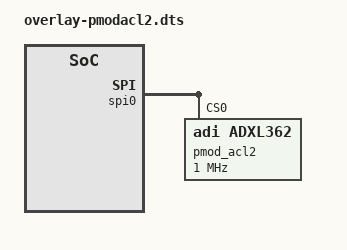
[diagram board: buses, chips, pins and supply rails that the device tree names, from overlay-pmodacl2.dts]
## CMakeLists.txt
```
cmake_minimum_required(VERSION 3.20.0)
find_package(Zephyr REQUIRED HINTS $ENV{ZEPHYR_BASE})
project(teleop_pico)

file(GLOB app_sources src/*.c)
set(common_sources
    ${CMAKE_CURRENT_SOURCE_DIR}/../common/src/atomic_shim.c
    ${CMAKE_CURRENT_SOURCE_DIR}/../common/src/ipv4_dhcp_client.c
    ${CMAKE_CURRENT_SOURCE_DIR}/../common/src/rmw_zenoh_compat.c)
target_sources(app PRIVATE ${app_sources} ${common_sources})
target_include_directories(
  app PRIVATE ${CMAKE_CURRENT_SOURCE_DIR}/../common/include)

if(DEFINED ENV{ZENOH_LOCATOR} AND NOT "$ENV{ZENOH_LOCATOR}" STREQUAL "")
  target_compile_definitions(app PRIVATE ZENOH_LOCATOR=\"$ENV{ZENOH_LOCATOR}\")
  message(STATUS "teleop_pico: ZENOH_LOCATOR is set from environment")
endif()
```

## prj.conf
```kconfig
# Pmod ACL2 (ADXL362) is connected via LiteX SPI (spi0 + pmod_acl2 DT node).
CONFIG_SPI=y
CONFIG_SENSOR=y
CONFIG_ADXL362=y

CONFIG_NETWORKING=y
CONFIG_NET_IPV6=y
CONFIG_NET_IPV4=y
CONFIG_NET_ARP=y
CONFIG_NET_TCP=y
CONFIG_NET_UDP=y
CONFIG_NET_SOCKETS=y
CONFIG_NET_DHCPV4=y
CONFIG_NET_DHCPV4_OPTION_CALLBACKS=y
CONFIG_DNS_RESOLVER=y

CONFIG_ENTROPY_GENERATOR=y
CONFIG_TEST_RANDOM_GENERATOR=y

CONFIG_INIT_STACKS=y

CONFIG_NET_MGMT=y
CONFIG_NET_MGMT_EVENT=y

CONFIG_NET_LOG=y
CONFIG_LOG=y

CONFIG_SLIP_STATISTICS=n
CONFIG_NET_SHELL=y

# Added config for zenoh-pico
## ref: https://github.com/eclipse-zenoh/zenoh-pico/blob/1.8.0/zephyr/Kconfig.zenoh
CONFIG_ZENOH_PICO=y
CONFIG_ZENOH_PICO_MULTI_THREAD=y
CONFIG_ZENOH_PICO_PUBLICATION=y
CONFIG_ZENOH_PICO_SUBSCRIPTION=y
CONFIG_ZENOH_PICO_QUERY=y
CONFIG_ZENOH_PICO_QUERYABLE=y
CONFIG_ZENOH_PICO_LINK_TCP=y
CONFIG_ZENOH_PICO_SCOUTING=y
CONFIG_ZENOH_PICO_LINK_UDP_UNICAST=y
CONFIG_ZENOH_PICO_LINK_UDP_MULTICAST=y

## POSIX support is required by zenoh-pico Zephyr backend
CONFIG_POSIX_API=y
CONFIG_POSIX_THREADS=y
CONFIG_POSIX_THREADS_EXT=y
CONFIG_POSIX_TIMERS=y
CONFIG_POSIX_NETWORKING=y

## Resource size increases for zenoh-pico
CONFIG_MAIN_STACK_SIZE=4096
CONFIG_SYSTEM_WORKQUEUE_STACK_SIZE=4096
CONFIG_HEAP_MEM_POOL_SIZE=150000

### Network buffers
CONFIG_NET_PKT_RX_COUNT=16
CONFIG_NET_PKT_TX_COUNT=16
CONFIG_NET_BUF_RX_COUNT=80
CONFIG_NET_BUF_TX_COUNT=80
CONFIG_NET_CONTEXT_NET_PKT_POOL=y
CONFIG_NET_MAX_CONTEXTS=10

### POSIX object pools
CONFIG_POSIX_THREAD_THREADS_MAX=4
CONFIG_MAX_PTHREAD_MUTEX_COUNT=32
CONFIG_MAX_PTHREAD_COND_COUNT=8
CONFIG_POSIX_THREAD_KEYS_MAX=8
```

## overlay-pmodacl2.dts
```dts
&spi0 {
    status = "okay";

    pmod_acl2: adxl362@0 {
        compatible = "adi,adxl362";
        reg = <0>;
        spi-max-frequency = <1000000>;
        status = "okay";
    };
};
```

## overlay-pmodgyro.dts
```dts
&spi0 {
    status = "okay";

    pmod_gyro: gyro@0 {
        compatible = "st,l3g4200d";
        reg = <0>;
        spi-max-frequency = <1000000>;
    };
};
```

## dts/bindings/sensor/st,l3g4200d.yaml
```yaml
description: ST L3G4200D three-axis gyroscope on SPI

compatible: "st,l3g4200d"

include: spi-device.yaml
```

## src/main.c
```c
#include <errno.h>
#include <stdint.h>
#include <string.h>
#include <zenoh-pico.h>
#include <zephyr/devicetree.h>
#include <zephyr/drivers/sensor.h>
#include <zephyr/kernel.h>
#include <zephyr/logging/log.h>

#include "ipv4_dhcp_client.h"
#include "rmw_zenoh_compat.h"

LOG_MODULE_REGISTER(teleop_pico, CONFIG_LOG_DEFAULT_LEVEL);

#define MODE "client"
#ifndef ZENOH_LOCATOR
#define ZENOH_LOCATOR ""
#endif
#define LOCATOR ZENOH_LOCATOR

#define ACCEL_NODE DT_NODELABEL(pmod_acl2)

#define NODE_NAME "zp_turtle"
#define NODE_ID 0
#define PUB_ID 20

#define SAMPLE_PERIOD_MS 100
#define BIAS_SAMPLE_COUNT 50

#define DEADZONE_MS2 1.0
#define LINEAR_GAIN_PER_MS2 0.35
#define ANGULAR_GAIN_PER_MS2 0.90
#define MAX_LINEAR_X 1.2
#define MAX_ANGULAR_Z 2.0

static double apply_deadzone_ms2(double value) {
  if (value > DEADZONE_MS2) {
    return value - DEADZONE_MS2;
  }
  if (value < -DEADZONE_MS2) {
    return value + DEADZONE_MS2;
  }
  return 0.0;
}

static double clamp_double(double value, double min, double max) {
  if (value < min) {
    return min;
  }
  if (value > max) {
    return max;
  }
  return value;
}

static int read_accel_ms2(const struct device* accel, double axis_ms2[3]) {
  struct sensor_value accel_xyz[3];
  int rc = sensor_sample_fetch(accel);
  if (rc != 0) {
    return rc;
  }

  rc = sensor_channel_get(accel, SENSOR_CHAN_ACCEL_XYZ, accel_xyz);
  if (rc != 0) {
    return rc;
  }

  axis_ms2[0] = sensor_value_to_double(&accel_xyz[0]);
  axis_ms2[1] = sensor_value_to_double(&accel_xyz[1]);
  axis_ms2[2] = sensor_value_to_double(&accel_xyz[2]);
  return 0;
}

static int estimate_bias_ms2(const struct device* accel, double bias_ms2[3]) {
  double sum_ms2[3] = {0.0, 0.0, 0.0};

  LOG_INF("Estimating accelerometer bias (%d samples)... keep the board still",
          BIAS_SAMPLE_COUNT);

  for (int i = 0; i < BIAS_SAMPLE_COUNT; ++i) {
    double axis_ms2[3];
    int rc = read_accel_ms2(accel, axis_ms2);
    if (rc != 0) {
      return rc;
    }
    sum_ms2[0] += axis_ms2[0];
    sum_ms2[1] += axis_ms2[1];
    sum_ms2[2] += axis_ms2[2];
    k_sleep(K_MSEC(SAMPLE_PERIOD_MS));
  }

  bias_ms2[0] = sum_ms2[0] / BIAS_SAMPLE_COUNT;
  bias_ms2[1] = sum_ms2[1] / BIAS_SAMPLE_COUNT;
  bias_ms2[2] = sum_ms2[2] / BIAS_SAMPLE_COUNT;
  LOG_INF("Bias m/s^2 x=%.3f y=%.3f z=%.3f", bias_ms2[0], bias_ms2[1],
          bias_ms2[2]);

  return 0;
}

int main(void) {
  const struct device* accel = DEVICE_DT_GET(ACCEL_NODE);
  if (!device_is_ready(accel)) {
    LOG_ERR("Pmod ACL2 device is not ready");
    return -ENODEV;
  }

  int rc;
  double bias_ms2[3] = {0.0, 0.0, 0.0};
  rc = estimate_bias_ms2(accel, bias_ms2);
  if (rc != 0) {
    LOG_ERR("Bias estimation failed (%d)", rc);
    return rc;
  }

  rc = dhcpv4_wait_for_ipv4();
  if (rc != 0) {
    LOG_ERR("DHCPv4 failed (%d)", rc);
    return rc;
  }

  z_owned_config_t config;
  z_config_default(&config);
  zp_config_insert(z_loan_mut(config), Z_CONFIG_MODE_KEY, MODE);
  if (strcmp(LOCATOR, "") != 0) {
    LOG_INF("Using Zenoh locator from compile-time env: %s", LOCATOR);
    zp_config_insert(z_loan_mut(config), Z_CONFIG_CONNECT_KEY, LOCATOR);
  }

  LOG_INF("Opening Zenoh Session...");
  z_owned_session_t session;
  if (z_open(&session, z_move(config), NULL) < 0) {
    LOG_ERR("Unable to open session");
    return -EIO;
  }

  zp_start_read_task(z_loan_mut(session), NULL);
  zp_start_lease_task(z_loan_mut(session), NULL);

  char session_zid[64];
  if (rmw_zenoh_zid_to_str(z_loan(session), session_zid, sizeof(session_zid)) <
      0) {
    LOG_ERR("Unable to stringify session zid");
    return -EIO;
  }

  char node_lv[256];
  char pub_lv[512];
  if (rmw_zenoh_build_node_liveliness(node_lv, sizeof(node_lv), session_zid,
                                      NODE_ID, NODE_NAME) < 0 ||
      rmw_zenoh_build_pub_liveliness(
          pub_lv, sizeof(pub_lv), session_zid, NODE_ID, PUB_ID, NODE_NAME,
          RMW_ZENOH_TWIST_TOPIC, RMW_ZENOH_TWIST_TYPE_NAME,
          RMW_ZENOH_TWIST_TYPE_HASH) < 0) {
    LOG_ERR("Unable to build rmw_zenoh liveliness keyexprs");
    return -ENOMEM;
  }

  z_owned_liveliness_token_t node_token;
  z_owned_liveliness_token_t pub_token;
  if (rmw_zenoh_declare_liveliness_token(z_loan(session), node_lv,
                                         &node_token) < 0 ||
      rmw_zenoh_declare_liveliness_token(z_loan(session), pub_lv, &pub_token) <
          0) {
    LOG_ERR("Unable to declare rmw_zenoh liveliness tokens");
    return -EIO;
  }

  z_view_keyexpr_t pub_ke;
  z_view_keyexpr_from_str_unchecked(&pub_ke, RMW_ZENOH_TWIST_TOPIC_KEYEXPR);
  z_owned_publisher_t pub;
  if (z_declare_publisher(z_loan(session), &pub, z_loan(pub_ke), NULL) < 0) {
    LOG_ERR("Unable to declare publisher");
    return -EIO;
  }

  uint8_t gid[16];
  rmw_zenoh_fill_gid(gid, z_loan(session), PUB_ID);

  LOG_INF("Teleop started: publishing Twist from ACL2");

  for (int64_t seq = 0;; ++seq) {
    double accel_ms2[3];
    rc = read_accel_ms2(accel, accel_ms2);
    if (rc != 0) {
      LOG_ERR("Accelerometer read failed (%d)", rc);
      k_sleep(K_MSEC(SAMPLE_PERIOD_MS));
      continue;
    }

    double delta_x = apply_deadzone_ms2(accel_ms2[0] - bias_ms2[0]);
    double delta_y = apply_deadzone_ms2(accel_ms2[1] - bias_ms2[1]);

    double linear_x = clamp_double(-(delta_y)*LINEAR_GAIN_PER_MS2,
                                   -MAX_LINEAR_X, MAX_LINEAR_X);
    double angular_z = clamp_double((delta_x)*ANGULAR_GAIN_PER_MS2,
                                    -MAX_ANGULAR_Z, MAX_ANGULAR_Z);

    z_owned_bytes_t payload;
    z_owned_bytes_t attachment;
    z_owned_encoding_t encoding;
    if (rmw_zenoh_serialize_twist_payload(&payload, linear_x, 0.0, 0.0, 0.0,
                                          0.0, angular_z) < 0 ||
        rmw_zenoh_build_attachment(&attachment, seq, rmw_zenoh_now_ns(), gid) <
            0 ||
        rmw_zenoh_make_cdr_encoding(&encoding) < 0) {
      LOG_ERR("Unable to build rmw_zenoh Twist sample");
      return -EIO;
    }

    z_publisher_put_options_t opts;
    z_publisher_put_options_default(&opts);
    opts.encoding = z_move(encoding);
    opts.attachment = z_move(attachment);

    if (z_publisher_put(z_loan(pub), z_move(payload), &opts) < 0) {
      LOG_ERR("Unable to publish");
      return -EIO;
    }

    LOG_INF(
        "accel x=%.3f y=%.3f z=%.3f delta x=%.3f y=%.3f -> Twist linear.x=%.3f "
        "angular.z=%.3f",
        accel_ms2[0], accel_ms2[1], accel_ms2[2], delta_x, delta_y, linear_x,
        angular_z);

    k_sleep(K_MSEC(SAMPLE_PERIOD_MS));
  }

  return 0;
}
```
